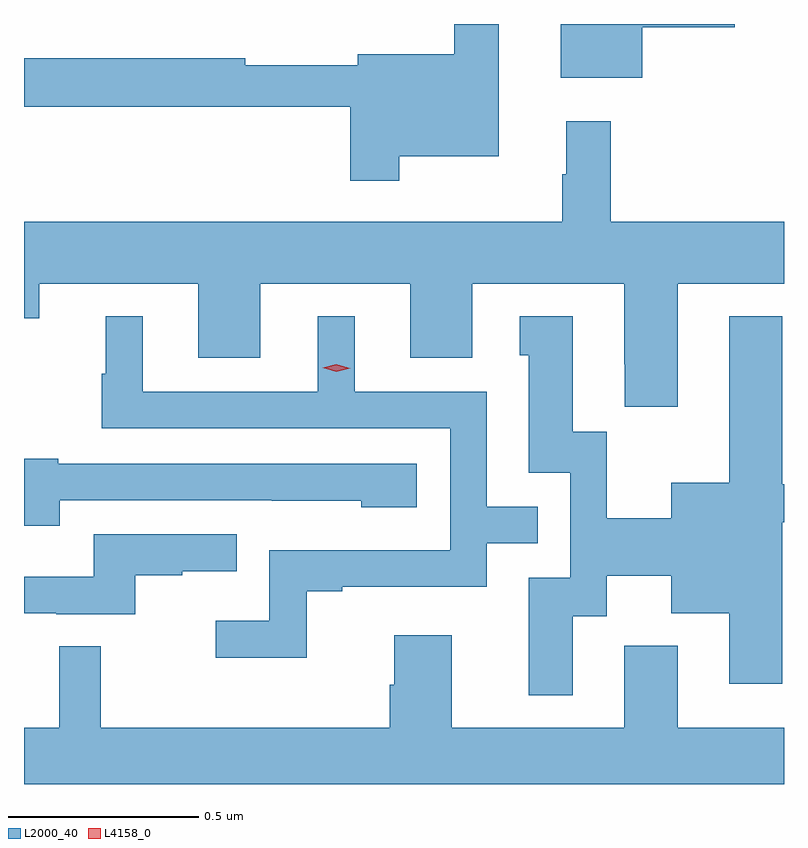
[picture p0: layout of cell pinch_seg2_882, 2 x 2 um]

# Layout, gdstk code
import gdstk
lib = gdstk.Library(unit=1e-6, precision=1e-09)
def P(c, l, *ps):  # polygons
    for p in ps: c.add(gdstk.Polygon(p, *l))
L2000_40 = (2000, 40)
L4158_0 = (4158, 0)

pinch_seg2_882 = lib.new_cell('pinch_seg2_882')
P(pinch_seg2_882, L2000_40, [(627.694,603.023),(627.937,603.023),(627.937,603.032),(627.479,603.032),(627.479,602.891),(627.694,602.891)],
  [(627.055,602.684),(627.316,602.684),(627.316,603.032),(627.199,603.032),(627.199,602.953),(626.945,602.953),(626.945,602.923),(626.649,602.923),(626.649,602.942),(626.067,602.942),(626.067,602.814),(626.926,602.814),(626.926,602.619),(627.055,602.619)],
  [(627.787,602.348),(628.067,602.348),(628.067,602.512),(627.611,602.512),(627.611,602.776),(627.494,602.776),(627.494,602.636),(627.483,602.636),(627.483,602.512),(626.067,602.512),(626.067,602.258),(626.107,602.258),(626.107,602.348),(626.525,602.348),(626.525,602.154),(626.689,602.154),(626.689,602.348),(627.083,602.348),(627.083,602.154),(627.247,602.154),(627.247,602.348),(627.647,602.348),(627.647,602.137),(627.648,602.137),(627.648,602.025),(627.787,602.025)],
  [(627.511,601.474),(627.601,601.474),(627.601,601.58),(627.77,601.58),(627.77,601.481),(627.923,601.481),(627.923,601.296),(628.063,601.296),(628.063,601.721),(628.067,601.721),(628.067,601.821),(628.063,601.821),(628.063,602.263),(627.923,602.263),(627.923,601.825),(627.77,601.825),(627.77,601.732),(627.6,601.732),(627.6,601.959),(627.511,601.959),(627.511,602.263),(627.371,602.263),(627.371,602.16),(627.395,602.16),(627.395,601.851),(627.504,601.851),(627.504,601.575),(627.395,601.575),(627.395,601.266),(627.511,601.266)],
  [(626.811,601.539),(626.905,601.539),(626.905,601.551),(627.285,601.551),(627.285,601.665),(627.419,601.665),(627.419,601.761),(627.285,601.761),(627.285,602.064),(626.938,602.064),(626.938,602.263),(626.84,602.263),(626.84,602.064),(626.38,602.064),(626.38,602.263),(626.282,602.263),(626.282,602.112),(626.271,602.112),(626.271,601.968),(627.189,601.968),(627.189,601.647),(626.712,601.647),(626.712,601.462),(626.571,601.462),(626.571,601.364),(626.811,601.364)],
  [(626.161,601.779),(626.719,601.779),(626.719,601.778),(626.955,601.778),(626.955,601.76),(627.1,601.76),(627.1,601.875),(626.157,601.875),(626.157,601.888),(626.067,601.888),(626.067,601.712),(626.161,601.712)],
  [(626.36,601.581),(626.483,601.581),(626.483,601.592),(626.627,601.592),(626.627,601.689),(626.25,601.689),(626.25,601.577),(626.067,601.577),(626.067,601.482),(626.152,601.482),(626.152,601.479),(626.36,601.479)],
  [(628.067,601.18),(627.787,601.18),(627.787,601.396),(627.647,601.396),(627.647,601.18),(627.193,601.18),(627.193,601.423),(627.041,601.423),(627.041,601.293),(627.029,601.293),(627.029,601.18),(626.269,601.18),(626.269,601.394),(626.16,601.394),(626.16,601.18),(626.067,601.18),(626.067,601.032),(628.067,601.032)])
P(pinch_seg2_882, L4158_0, [(626.889,602.117),(626.853,602.127),(626.853,602.127),(626.853,602.128),(626.889,602.137),(626.925,602.126),(626.925,602.126),(626.925,602.126)])

lib.write_gds('pinch_seg2_882.gds')
